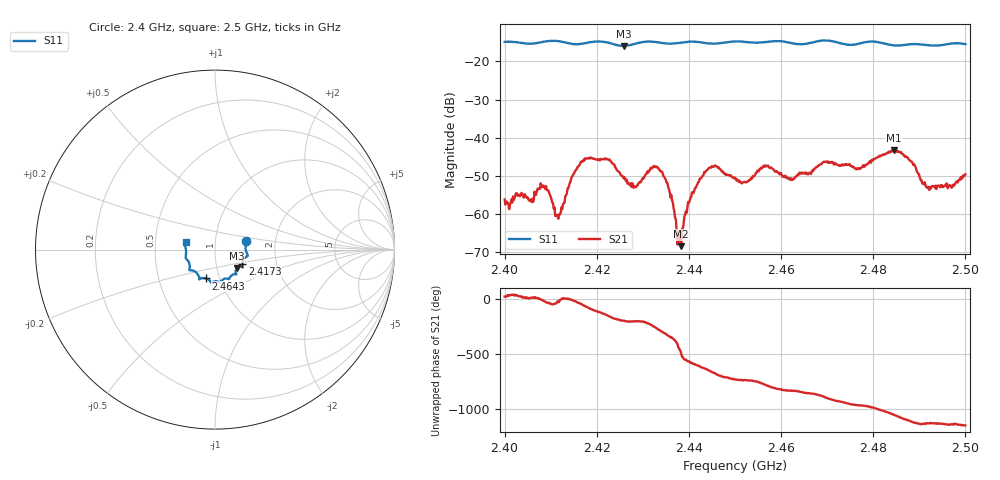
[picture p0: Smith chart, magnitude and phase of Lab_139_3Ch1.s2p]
# Hz S RI R 50
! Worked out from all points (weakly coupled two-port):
!   601 points, 2.4 GHz to 2.5 GHz, reference 50 ohm
!   highest |S21| = -43.35 dB at 2.4845 GHz (marker M1); lowest = -68.5 dB at 2.4383 GHz (marker M2)
!   lowest |S11| = -15.9 dB at 2.4258 GHz (marker M3), VSWR 1.38, Z = 62.3 - j13.2 ohm
!   |S11| at or under -10 dB: start of sweep to end of sweep
!   S12 and S22 are empty: the file has one direction only
!   S11 on the Smith chart (normalised r, x): 2.4 GHz: 1.41, +0.14; 2.4173 GHz: 1.34, -0.23; 2.4643 GHz: 0.86, -0.29; 2.5 GHz: 0.72, +0.06
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2.4e9  0.1736 0.0496  0.00145 0.000526  0 0  0 0
2.408333e9  0.1793 -0.0237  0.00226 -0.000702  0 0  0 0
2.4115e9  0.1817 -0.0357  0.000851 -0.000347  0 0  0 0
2.416667e9  0.1532 -0.0742  0.00327 -0.00363  0 0  0 0
2.417333e9  0.1524 -0.0817  0.00225 -0.00448  0 0  0 0
2.4225e9  0.149 -0.0941  -0.00472 -0.00212  0 0  0 0
2.425833e9  0.1217 -0.1036  -0.00278 0.000893  0 0  0 0
2.4285e9  0.1152 -0.1277  -0.00204 0.000924  0 0  0 0
2.433333e9  0.113 -0.1369  0.000418 0.00399  0 0  0 0
2.435333e9  0.0995 -0.1397  0.0022 0.00127  0 0  0 0
2.437833e9  0.0836 -0.1533  3.33e-05 -0.000432  0 0  0 0
2.438333e9  0.0819 -0.1561  -0.000277 -0.000254  0 0  0 0
2.440333e9  0.0791 -0.1638  -0.00123 0.00107  0 0  0 0
2.443833e9  0.0647 -0.1609  0.000587 0.00365  0 0  0 0
2.45e9  0.0294 -0.1808  0.00283 -0.000629  0 0  0 0
2.456667e9  -0.0113 -0.1796  0.00203 -0.0037  0 0  0 0
2.464333e9  -0.0497 -0.1608  -0.00195 -0.0028  0 0  0 0
2.466667e9  -0.0759 -0.1599  -0.00281 -0.00226  0 0  0 0
2.483333e9  -0.1404 -0.0901  0.00441 0.00479  0 0  0 0
2.4845e9  -0.1426 -0.0775  0.00606 0.00308  0 0  0 0
2.492e9  -0.161 -0.0256  0.0014 -0.00177  0 0  0 0
2.5e9  -0.1635 0.042  0.00116 -0.0031  0 0  0 0
